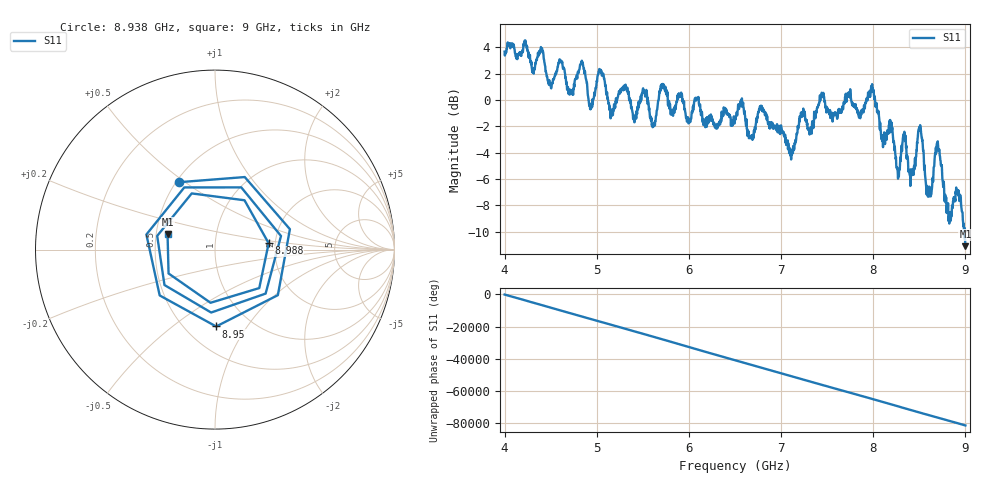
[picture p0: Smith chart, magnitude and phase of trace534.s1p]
! Created with skrf 1.8.0 (http://scikit-rf.org).
# Hz S RI R 50.0
!freq ReS11 ImS11
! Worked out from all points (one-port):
!   1601 points, 4 GHz to 9 GHz, reference 50 ohm
!   lowest |S11| = -11.1 dB at 9 GHz (marker M1), VSWR 1.77, Z = 28.7 + j5.41 ohm
!   |S11| at or under -10 dB: 8.984828 GHz to 8.989803 GHz (4.975 MHz wide, 0.0554 % of centre); 8.992035 GHz to end of sweep
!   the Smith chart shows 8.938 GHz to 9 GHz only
!   S11 on the Smith chart (normalised r, x): 8.938 GHz: 0.52, +0.47; 8.95 GHz: 0.70, -0.73; 8.988 GHz: 1.85, +0.14; 9 GHz: 0.57, +0.11
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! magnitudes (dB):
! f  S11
! 4 GHz  3.7
! 4.625 GHz  2.9
! 4.719 GHz  0.6
! 4.841 GHz  2.8
! 4.934 GHz  -0.7
! 5.034 GHz  2.2
! 5.159 GHz  -1.2
! 5.25 GHz  0.5
! 5.612 GHz  -2.0
! 5.706 GHz  1.0
! 5.875 GHz  0.3
! 6.5 GHz  -1.3
! 6.675 GHz  -2.8
! 6.794 GHz  -0.6
! 7.125 GHz  -3.8
! 7.441 GHz  0.6
! 7.75 GHz  0.8
! 7.994 GHz  0.9
! 8.262 GHz  -5.2
! 8.375 GHz  -4.4
! 8.509 GHz  -1.9
! 8.6 GHz  -6.9
! 8.697 GHz  -3.2
! 8.819 GHz  -9.1
! 8.938 GHz  -7.4
! 8.95 GHz  -7.4
! 8.988 GHz  -10.4
! 9 GHz  -11.1
